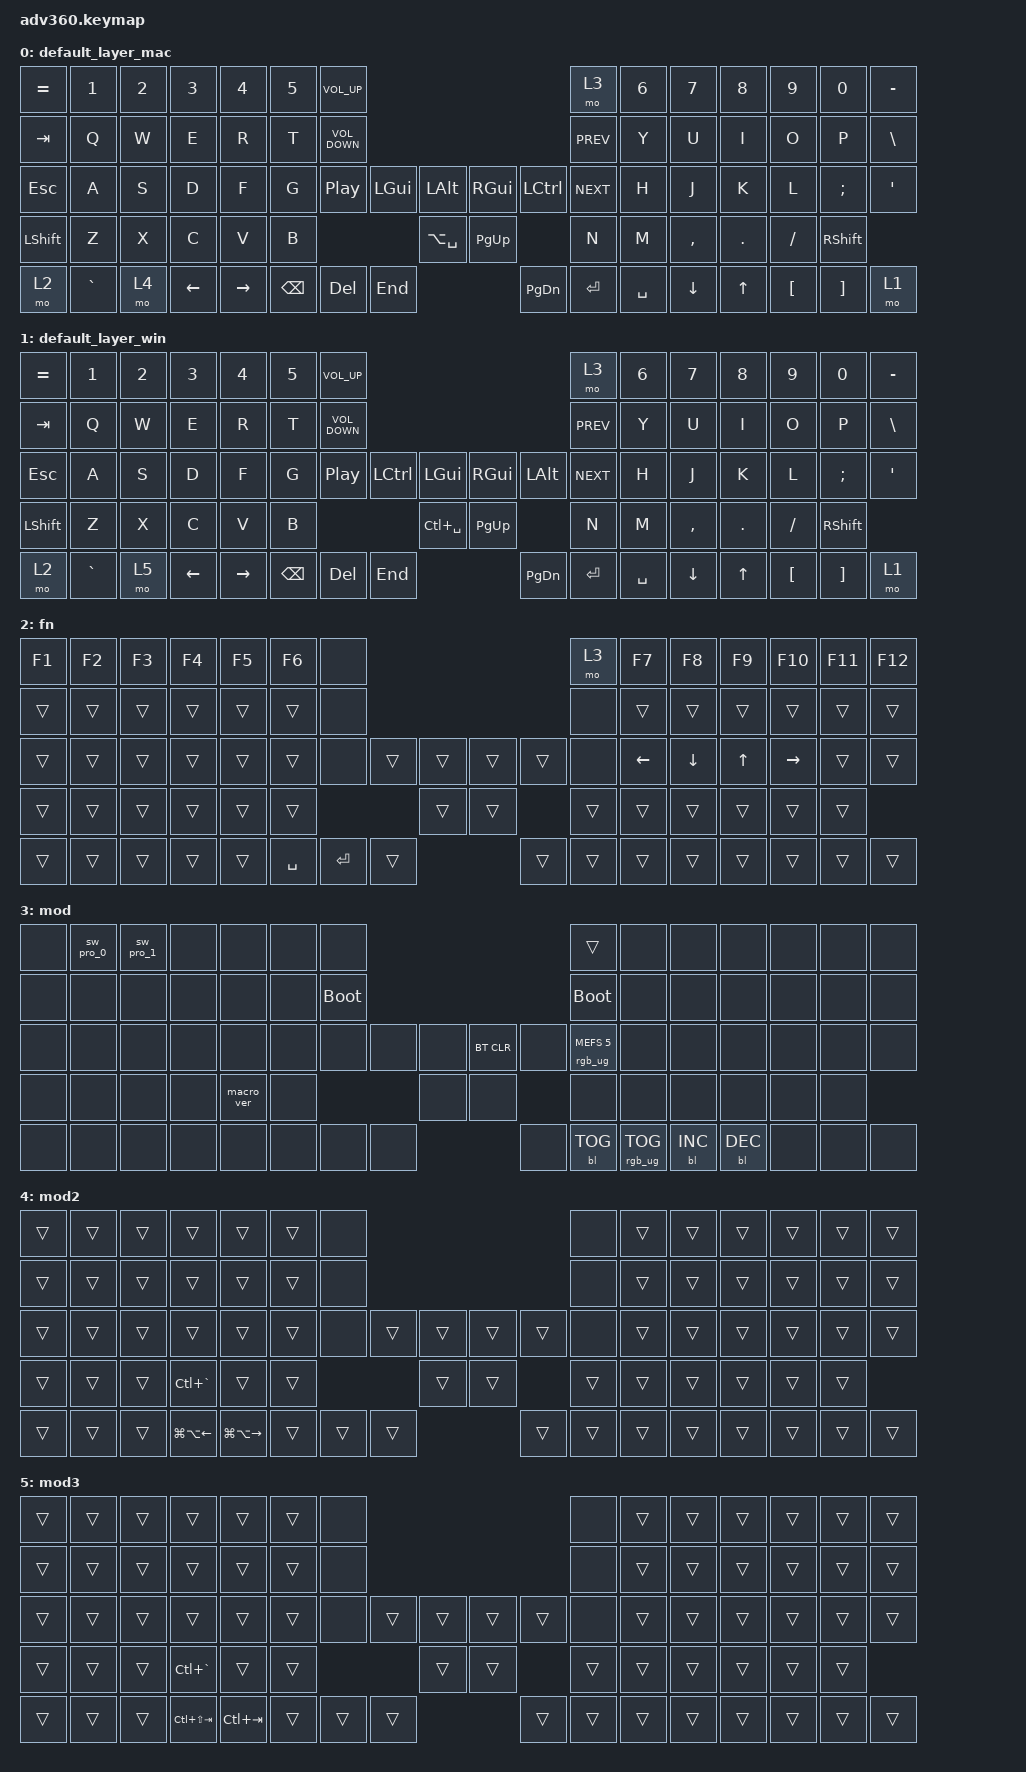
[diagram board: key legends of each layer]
#include <behaviors.dtsi>
#include <dt-bindings/zmk/keys.h>
#include <dt-bindings/zmk/bt.h>
#include <dt-bindings/zmk/rgb.h>
#include <dt-bindings/zmk/backlight.h>

/ {
    behaviors {
      #include "macros.dtsi"
      #include "version.dtsi"
      #ifndef VERSION_MACRO
      macro_ver: macro_ver {
        compatible = "zmk,behavior-macro";
        label = "macro_version";
        #binding-cells = <0>;
        bindings = <&kp RET>;
      };
      #endif

      hm: homerow_mods {
          compatible = "zmk,behavior-hold-tap";
          label = "HOMEROW_MODS";
          #binding-cells = <2>;
          tapping-term-ms = <200>;
          quick_tap_ms = <175>;
          flavor = "tap-preferred";
          bindings = <&kp>, <&kp>;
      };
    };
    macros {
      sw_pro_0: sw_pro_0 {
        compatible = "zmk,behavior-macro";
        #binding-cells = <0>;
        bindings = <&to 0>, <&bt BT_SEL 0>;
      };
      sw_pro_1: sw_pro_1 {
        compatible = "zmk,behavior-macro";
        #binding-cells = <0>;
        bindings = <&to 1>, <&bt BT_SEL 1>;
      };
    };

  keymap {
    compatible = "zmk,keymap";

    default_layer_mac {
      bindings = <
        &kp EQUAL &kp N1     &kp N2 &kp N3   &kp N4    &kp N5 &kp C_VOLUME_UP                                                         &mo 3      &kp N6   &kp N7    &kp N8    &kp N9   &kp N0   &kp MINUS
        &kp TAB   &kp Q      &kp W  &kp E    &kp R     &kp T  &kp C_VOLUME_DOWN                                                       &kp C_PREV &kp Y    &kp U     &kp I     &kp O    &kp P    &kp BSLH
        &kp ESC   &kp A      &kp S  &kp D    &kp F     &kp G  &kp C_PP           &kp LGUI &kp LALT      &kp RGUI  &kp LCTRL           &kp C_NEXT &kp H    &kp J     &kp K     &kp L    &kp SEMI &kp SQT
        &kp LSHFT &kp Z      &kp X  &kp C    &kp V     &kp B                              &kp LA(SPACE) &kp PG_UP                     &kp N      &kp M    &kp COMMA &kp DOT   &kp FSLH &kp RSHFT
        &mo 2     &kp GRAVE  &mo 4  &kp LEFT &kp RIGHT                  &kp BSPC &kp DEL  &kp END       &kp PG_DN &kp ENTER &kp SPACE            &kp DOWN &kp UP    &kp LBKT  &kp RBKT &mo 1
      >;
    };
    default_layer_win {
      bindings = <
        &kp EQUAL &kp N1     &kp N2 &kp N3   &kp N4    &kp N5 &kp C_VOLUME_UP                                                         &mo 3      &kp N6   &kp N7    &kp N8    &kp N9   &kp N0   &kp MINUS
        &kp TAB   &kp Q      &kp W  &kp E    &kp R     &kp T  &kp C_VOLUME_DOWN                                                       &kp C_PREV &kp Y    &kp U     &kp I     &kp O    &kp P    &kp BSLH
        &kp ESC   &kp A      &kp S  &kp D    &kp F     &kp G  &kp C_PP           &kp LCTRL &kp LGUI     &kp RGUI  &kp LALT            &kp C_NEXT &kp H    &kp J     &kp K     &kp L    &kp SEMI &kp SQT
        &kp LSHFT &kp Z      &kp X  &kp C    &kp V     &kp B                              &kp LC(SPACE) &kp PG_UP                     &kp N      &kp M    &kp COMMA &kp DOT   &kp FSLH &kp RSHFT
        &mo 2     &kp GRAVE  &mo 5  &kp LEFT &kp RIGHT                  &kp BSPC &kp DEL  &kp END       &kp PG_DN &kp ENTER &kp SPACE            &kp DOWN &kp UP    &kp LBKT  &kp RBKT &mo 1
      >;
    };
    fn {
      bindings = <
        &kp F1 &kp F2 &kp F3 &kp F4 &kp F5 &kp F6  &none                                              &mo 3 &kp F7   &kp F8   &kp F9 &kp F10   &kp F11 &kp F12
        &trans &trans &trans &trans &trans &trans  &none                                              &none &trans   &trans   &trans &trans    &trans  &trans
        &trans &trans &trans &trans &trans &trans  &none        &trans    &trans &trans &trans        &none &kp LEFT &kp DOWN &kp UP &kp RIGHT &trans  &trans
        &trans &trans &trans &trans &trans &trans                         &trans &trans                     &trans   &trans   &trans &trans    &trans  &trans
        &trans &trans &trans &trans &trans            &kp SPACE &kp ENTER &trans &trans &trans &trans                &trans   &trans &trans    &trans  &trans
      >;
    };
    mod {
      bindings = <
        &none &sw_pro_0    &sw_pro_1    &none        &none        &none        &none                                                                     &trans                 &none        &none        &none        &none &none &none
        &none &none        &none        &none        &none        &none        &bootloader                                                               &bootloader            &none        &none        &none        &none &none &none
        &none &none        &none        &none        &none        &none        &none                   &none &none &bt BT_CLR &none                      &rgb_ug RGB_MEFS_CMD 5 &none        &none        &none        &none &none &none
        &none &none        &none        &none        &macro_ver   &none                                      &none &none                                                        &none        &none        &none        &none &none &none
        &none &none        &none        &none        &none                                       &none &none &none &none      &bl BL_TOG &rgb_ug RGB_TOG                                     &bl BL_INC   &bl BL_DEC   &none &none &none
      >;
    };
    mod2 {
      bindings = <
        &trans &trans &trans &trans           &trans            &trans  &none                                     &none &trans &trans &trans &trans  &trans  &trans
        &trans &trans &trans &trans           &trans            &trans  &none                                     &none &trans &trans &trans &trans  &trans  &trans
        &trans &trans &trans &trans           &trans            &trans  &none        &trans &trans &trans &trans  &none &trans &trans &trans &trans  &trans  &trans
        &trans &trans &trans &kp LC(GRAVE)    &trans            &trans                      &trans &trans               &trans &trans &trans &trans  &trans  &trans
        &trans &trans &trans &kp LG(LA(LEFT)) &kp LG(LA(RIGHT)) &trans        &trans &trans &trans &trans &trans               &trans &trans &trans  &trans  &trans
      >;
    };
    mod3 {
      bindings = <
        &trans &trans &trans &trans           &trans            &trans  &none                                     &none &trans &trans &trans &trans  &trans  &trans
        &trans &trans &trans &trans           &trans            &trans  &none                                     &none &trans &trans &trans &trans  &trans  &trans
        &trans &trans &trans &trans           &trans            &trans  &none        &trans &trans &trans &trans  &none &trans &trans &trans &trans  &trans  &trans
        &trans &trans &trans &kp LC(GRAVE)    &trans            &trans                      &trans &trans               &trans &trans &trans &trans  &trans  &trans
        &trans &trans &trans &kp LC(LS(TAB))  &kp LC(TAB)       &trans        &trans &trans &trans &trans &trans               &trans &trans &trans  &trans  &trans
      >;
    };
  };
};
